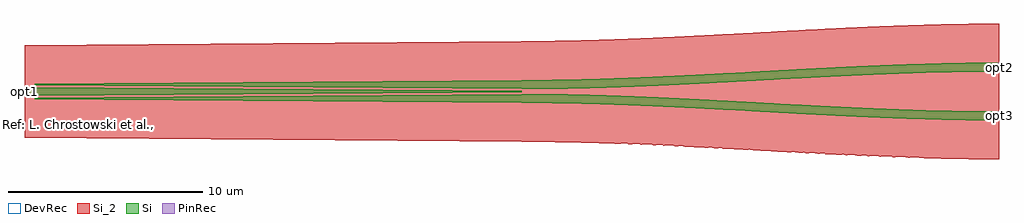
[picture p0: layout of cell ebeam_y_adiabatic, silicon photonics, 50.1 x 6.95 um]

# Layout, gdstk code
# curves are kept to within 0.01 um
import gdstk
lib = gdstk.Library(unit=1e-6, precision=1e-09)
def P(c, l, *ps):  # polygons
    for p in ps: c.add(gdstk.Polygon(p, *l))
Si = (1, 0)
Si_2 = (1, 2)
PinRec = (1, 10)
DevRec = (68, 0)

ebeam_y_adiabatic = lib.new_cell('ebeam_y_adiabatic')
P(ebeam_y_adiabatic, Si, [(25.55,0.13),(0.55,0.325),(0.55,0.385),(26.437,0.583),(28.485,0.615),(30.6,0.678),(32.989,0.777),(40.837,1.191),(44.181,1.346),(47.115,1.44),(50.05,1.475),(50.05,1.025),(47.388,0.996),(44.863,0.922),(41.792,0.789),(34.763,0.414),(31.59,0.266),(28.485,0.165)],
  [(49.743,-1.475),(47.115,-1.44),(44.181,-1.346),(40.837,-1.191),(32.989,-0.777),(30.6,-0.678),(28.485,-0.615),(26.437,-0.583),(0.55,-0.385),(0.55,-0.325),(25.55,-0.13),(28.485,-0.165),(30.6,-0.228),(32.989,-0.327),(40.837,-0.741),(44.181,-0.896),(47.115,-0.99),(50.05,-1.025),(50.05,-1.475)],
  [(0.05,-0.225),(0.05,0.225),(0.55,0.225),(25.55,0.03),(25.55,-0.03),(0.55,-0.225)])
P(ebeam_y_adiabatic, Si_2, [(49.714,-3.475),(47.086,-3.44),(44.093,-3.344),(41.14,-3.209),(33.221,-2.79),(30.62,-2.68),(28.459,-2.615),(26.41,-2.583),(0.05,-2.381),(0.05,2.381),(26.41,2.583),(28.186,2.609),(30.142,2.663),(32.641,2.763),(41.142,3.209),(44.093,3.344),(47.086,3.44),(50.05,3.475),(50.05,-3.475)])
P(ebeam_y_adiabatic, DevRec, [(49.714,-3.475),(47.086,-3.44),(44.093,-3.344),(41.14,-3.209),(33.221,-2.79),(30.62,-2.68),(28.459,-2.615),(26.41,-2.583),(0.05,-2.381),(0.05,2.381),(26.41,2.583),(28.186,2.609),(30.142,2.663),(32.641,2.763),(41.142,3.209),(44.093,3.344),(47.086,3.44),(50.05,3.475),(50.05,-3.475)])
ebeam_y_adiabatic.add(gdstk.FlexPath([(0.1,0),(0,0)], 0.45, ends="flush", simple_path=True, layer=1, datatype=10))  # PinRec
ebeam_y_adiabatic.add(gdstk.FlexPath([(50,1.25),(50.1,1.25)], 0.45, ends="flush", simple_path=True, layer=1, datatype=10))  # PinRec
ebeam_y_adiabatic.add(gdstk.FlexPath([(50,-1.25),(50.1,-1.25)], 0.45, ends="flush", simple_path=True, layer=1, datatype=10))  # PinRec
ebeam_y_adiabatic.add(gdstk.Label('opt3', (50.05,-1.25), layer=1, texttype=10))
ebeam_y_adiabatic.add(gdstk.Label('opt2', (50.05,1.25), layer=1, texttype=10))
ebeam_y_adiabatic.add(gdstk.Label('opt1', (0.05,0), layer=1, texttype=10))
ebeam_y_adiabatic.add(gdstk.Label('Ref: L. Chrostowski et al., IEEE JSTQE, vol. 25, no. 5, (2019)\ndoi: 10.1109/JSTQE.2019.2917501', (0.4,-1.7), layer=10, texttype=0))

lib.write_gds('ebeam_y_adiabatic.gds')
